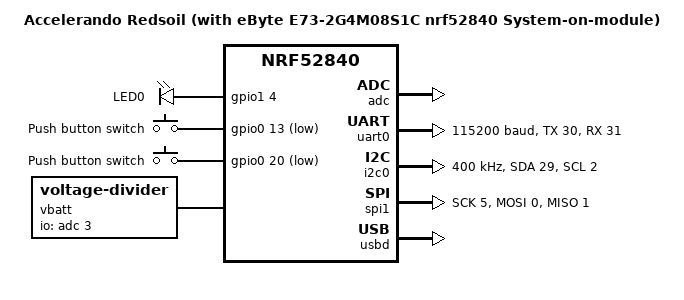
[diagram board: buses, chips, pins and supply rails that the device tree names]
/dts-v1/;
#include <nordic/nrf52840_qiaa.dtsi>

/ {
	model = "Accelerando Redsoil (with eByte E73-2G4M08S1C nrf52840 System-on-module)";
	chosen {
		zephyr,console = &uart0;
		zephyr,shell-uart = &uart0;
		zephyr,uart-mcumgr = &uart0;
		zephyr,bt-mon-uart = &uart0;
		zephyr,bt-c2h-uart = &uart0;
		zephyr,sram = &sram0;
		zephyr,flash = &flash0;
		zephyr,code-partition = &slot0_partition;
	};

	/* These aliases are provided for compatibility with samples */
	aliases {
		led0 = &led0;
		sw0 = &button0;
		sw1 = &button1;
	};

	leds {
		compatible = "gpio-leds";
		led0: led_0 {
			gpios = <&gpio1 4 0>;
			label = "LED0";
		};
	};

	buttons {
		compatible = "gpio-keys";
		button0: button_0 {
			gpios = <&gpio0 13 (GPIO_PULL_UP | GPIO_ACTIVE_LOW)>;
			label = "Push button switch";
		};
		button1: button_1 {
			gpios = <&gpio0 20 (GPIO_PULL_UP | GPIO_ACTIVE_LOW)>;
			label = "Push button switch";
		};
	};

	vbatt {
		compatible = "voltage-divider";
		io-channels = <&adc 3>;
		output-ohms = <1000000>;
		full-ohms = <(1000000 + 1000000)>;
	};
};

&adc {
	status = "okay";
};

&gpiote {
	status = "okay";
};

&gpio0 {
	status = "okay";
};

&gpio1 {
	status = "okay";
};

&uart0 {
       	compatible = "nordic,nrf-uart";
	current-speed = <115200>;
	status = "okay";
	tx-pin = <30>;
	rx-pin = <31>;
};

&i2c0 {
        compatible = "nordic,nrf-twim";
	status = "okay";
	clock-frequency = <I2C_BITRATE_FAST>;
	sda-pin = <29>;
	scl-pin = <2>;

};

&spi1 {
	status = "okay";
	sck-pin = <5>;
	mosi-pin = <0>;
	miso-pin = <1>;
};

&flash0 {
	/*
	 * For more information, see:
	 * http://docs.zephyrproject.org/latest/guides/dts/index.html#flash-partitions
	 */
	partitions {
		compatible = "fixed-partitions";
		#address-cells = <1>;
		#size-cells = <1>;

		boot_partition: partition@0 {
			label = "mcuboot";
			reg = <0x000000000 0x0000C000>;
		};
		slot0_partition: partition@c000 {
			label = "image-0";
			reg = <0x0000C000 0x00067000>;
		};
		slot1_partition: partition@73000 {
			label = "image-1";
			reg = <0x00073000 0x00067000>;
		};
		scratch_partition: partition@da000 {
			label = "image-scratch";
			reg = <0x000da000 0x0001e000>;
		};

		/*
		 * The flash starting at 0x000f8000 and ending at
		 * 0x000fffff is reserved for use by the application.
		 */

		/* Storage partition will be used by FCB/NFFS/NVS if enabled. */
		storage_partition: partition@f8000 {
			label = "storage";
			reg = <0x000f8000 0x00008000>;
		};
	};
};

&usbd {
	compatible = "nordic,nrf-usbd";
	status = "okay";
};
